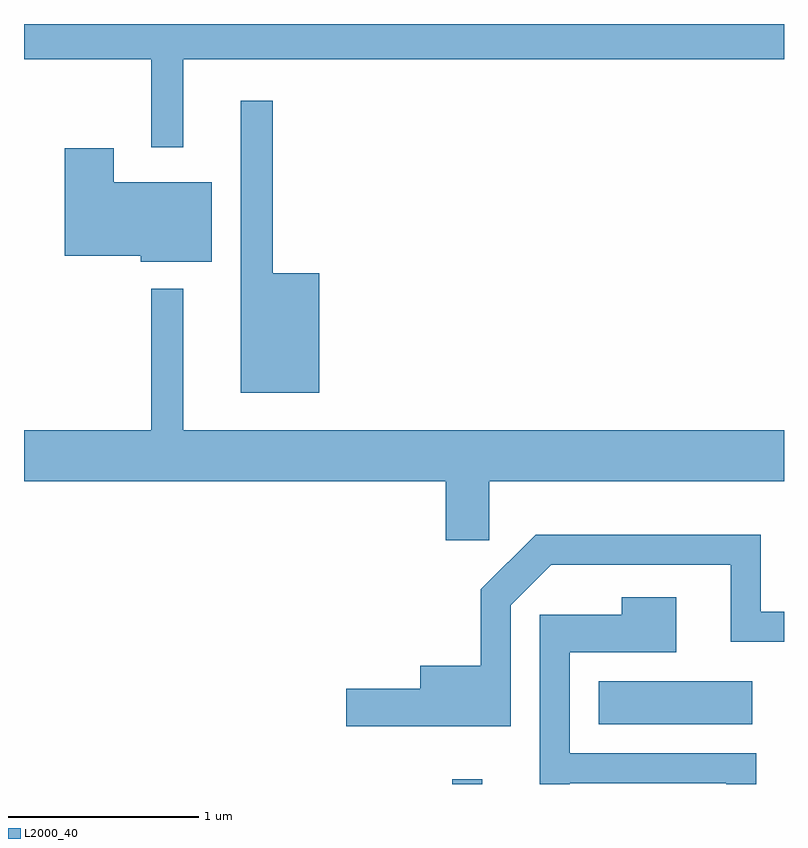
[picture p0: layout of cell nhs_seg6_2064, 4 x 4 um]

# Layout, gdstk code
import gdstk
lib = gdstk.Library(unit=1e-6, precision=1e-09)
def R(c, l, rs):  # rectangles x0, y0, x1, y1
    for r in rs: c.add(gdstk.rectangle(r[:2], r[2:], *l))
def P(c, l, *ps):  # polygons
    for p in ps: c.add(gdstk.Polygon(p, *l))
L2000_40 = (2000, 40)

nhs_seg6_2064 = lib.new_cell('nhs_seg6_2064')
R(nhs_seg6_2064, L2000_40, [(249.866,1606.162,250.024,1606.188), (250.636,1606.476,251.444,1606.704)])
P(nhs_seg6_2064, L2000_40, [(248.449,1609.976),(251.611,1609.976),(251.611,1610.162),(247.611,1610.162),(247.611,1609.976),(248.281,1609.976),(248.281,1609.513),(248.449,1609.513)],
  [(249.164,1608.849),(248.919,1608.849),(248.919,1609.758),(248.751,1609.758),(248.751,1608.221),(249.164,1608.221)],
  [(248.599,1609.329),(248.084,1609.329),(248.084,1609.509),(247.826,1609.509),(247.826,1608.941),(248.226,1608.941),(248.226,1608.911),(248.599,1608.911)],
  [(250.059,1607.756),(251.611,1607.756),(251.611,1608.024),(248.449,1608.024),(248.449,1608.768),(248.281,1608.768),(248.281,1608.024),(247.611,1608.024),(247.611,1607.756),(249.831,1607.756),(249.831,1607.446),(250.059,1607.446)],
  [(250.174,1607.104),(250.387,1607.316),(251.331,1607.316),(251.331,1606.911),(251.611,1606.911),(251.611,1607.069),(251.489,1607.069),(251.489,1607.474),(250.304,1607.474),(250.016,1607.187),(250.016,1606.784),(249.696,1606.784),(249.696,1606.664),(249.306,1606.664),(249.306,1606.466),(250.174,1606.466)],
  [(250.484,1606.166),(251.306,1606.166),(251.306,1606.162),(251.464,1606.162),(251.464,1606.324),(250.484,1606.324),(250.484,1606.856),(251.044,1606.856),(251.044,1607.144),(250.756,1607.144),(250.756,1607.054),(250.326,1607.054),(250.326,1606.162),(250.484,1606.162)])

lib.write_gds('nhs_seg6_2064.gds')
